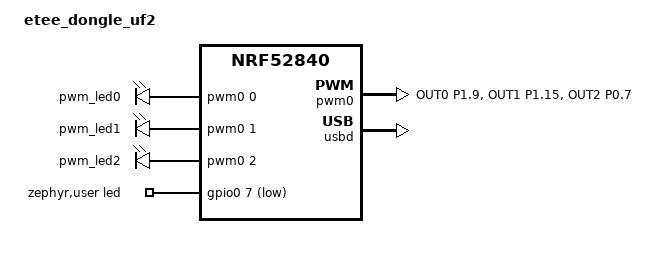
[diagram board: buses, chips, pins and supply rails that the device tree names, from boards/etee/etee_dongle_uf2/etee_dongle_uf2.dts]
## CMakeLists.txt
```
#
# Copyright (c) 2018 Nordic Semiconductor
#
# SPDX-License-Identifier: LicenseRef-Nordic-5-Clause
#
cmake_minimum_required(VERSION 3.20.0)

find_package(Zephyr REQUIRED HINTS $ENV{ZEPHYR_BASE})
project(NONE)

FILE(GLOB_RECURSE app_sources src/*.c)
# NORDIC SDK APP START
target_sources(app PRIVATE ${app_sources})
# NORDIC SDK APP END

# Force recompile for updated build timestamp
add_custom_target(touch_util_h ALL
    COMMAND ${CMAKE_COMMAND} -E touch ${CMAKE_SOURCE_DIR}/src/build_defines.h
)
```

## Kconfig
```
#
# Copyright (c) 2020 Nordic Semiconductor
#
# SPDX-License-Identifier: LicenseRef-Nordic-5-Clause
#

choice
	prompt "Status LED color mapping"
    default LED_TRI_COLOR

config LED_RGB_COLOR
    bool "Use RGB color mapping"
    help
        Use RGB or RG color mapping for LED status if available.

config LED_TRI_COLOR
    bool "Use default color mapping"
    help
        Use the default color mapping for LED status.

endchoice

menu "Status LED default status color"
    depends on LED_RGB_COLOR

config LED_DEFAULT_COLOR_R
    int "Red value"
    range 0 10000
    default 4000
    depends on LED_RGB_COLOR
    help
        Red color for default status.
        Valid range is 0 to 10000.

config LED_DEFAULT_COLOR_G
    int "Green value"
    range 0 10000
    default 6000
    depends on LED_RGB_COLOR
    help
        Green color for default status.
        Valid range is 0 to 10000.

config LED_DEFAULT_COLOR_B
    int "Blue value"
    range 0 10000
    default 0
    depends on LED_RGB_COLOR
    help
        Blue color for default status.
        Valid range is 0 to 10000.

endmenu

config PACKET_LOG
    bool "Log received tracker orientations"
    default y
    help
        Logs each tracker's latest orientation (roll, pitch, yaw in degrees)
        and packet rate once per interval, e.g.
        "Tracker 2 (3CA1B2C4D5E6): orientation X 12.3 Y -4.5 Z 170.2 deg, 98 pkt/s".

config PACKET_LOG_INTERVAL_MS
    int "Orientation log interval (ms)"
    depends on PACKET_LOG
    range 100 60000
    default 1000

# "diag on" logs a block of lines every interval; the default 1 KB drops some of them.
config LOG_BUFFER_SIZE
    default 4096 if PACKET_LOG && !SOC_NRF52820

DT_CHOSEN_HUB_UART := slimenrf,hub-uart

menu "ESP32 hub"

config HUB_UART_MIRROR
    bool "Mirror tracker packets to the ESP32 hub over UART"
    depends on $(dt_chosen_enabled,$(DT_CHOSEN_HUB_UART))
    select SERIAL
    select UART_ASYNC_API
    select CRC
    help
        Sends every tracker packet passed to the HID path, plus a type 255
        address packet per stored tracker every 100 ms, as
        COBS(packet[16] + CRC16 little-endian) + 0x00 on the UART chosen as
        "slimenrf,hub-uart". CRC16 is crc16_itu_t(0xFFFF, packet, 16).
        USB HID keeps working unchanged.

config HUB_UART_MIRROR_QUEUE_LEN
    int "Mirror queue length (packets)"
    depends on HUB_UART_MIRROR
    default 64
    help
        The HID FIFO merges reports per tracker; the mirror sends every packet,
        so it is sized for bursts. 64 covers about 50 ms at full rate.

config HUB_UART_MIRROR_ADDR_PERIOD_MS
    int "Address packet period (ms)"
    depends on HUB_UART_MIRROR
    default 100

config PAIRING_BUTTON
    bool "Toggle pairing mode with the sw0 button"
    depends on $(dt_alias_enabled,sw0)
    select GPIO
    help
        A short press enters pairing mode, the next press leaves it, the same
        as the "pair" and "exit" console commands.

endmenu

source "Kconfig.zephyr"
```

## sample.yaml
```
tests:
  common:
    platform_allow:
      - nrf52840dk/nrf52840
      - nrf52840dongle/nrf52840
      - xiao_ble/nrf52840
    sysbuild: true
```

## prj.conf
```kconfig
#CONFIG_NCS_SAMPLES_DEFAULTS
CONFIG_ASSERT=y
CONFIG_ASSERT_NO_COND_INFO=y
CONFIG_ASSERT_NO_MSG_INFO=y
CONFIG_RESET_ON_FATAL_ERROR=y

CONFIG_NCS_APPLICATION_BOOT_BANNER_STRING="SlimeVR-Tracker-nRF-Receiver"
#CONFIG_NCS_BOOT_BANNER=n
CONFIG_BOOT_BANNER=n

CONFIG_ESB=y
CONFIG_NEWLIB_LIBC=y
CONFIG_CBPRINTF_FP_SUPPORT=y

CONFIG_USB_DEVICE_STACK=y
CONFIG_USB_DEVICE_HID=y
CONFIG_USB_DEVICE_VID=0x1209
CONFIG_USB_DEVICE_PID=0x7690
CONFIG_USB_HID_BOOT_PROTOCOL=y
CONFIG_USB_DEVICE_INITIALIZE_AT_BOOT=n
CONFIG_USB_CDC_ACM=y
CONFIG_UART_INTERRUPT_DRIVEN=y
#CONFIG_USB_WORKQUEUE_STACK_SIZE=512

CONFIG_SERIAL=y
CONFIG_CONSOLE=y
CONFIG_UART_CONSOLE=y
CONFIG_UART_LINE_CTRL=y

CONFIG_LOG=y
#CONFIG_PRINTK=y
CONFIG_USB_DRIVER_LOG_LEVEL_WRN=y
CONFIG_USB_DEVICE_LOG_LEVEL_WRN=y
CONFIG_USB_CDC_ACM_LOG_LEVEL_OFF=y
CONFIG_LOG_BUFFER_SIZE=16384
CONFIG_LOG_PROCESS_THREAD_SLEEP_MS=100
CONFIG_LOG_PROCESS_THREAD_STACK_SIZE=1024

CONFIG_LOG_BACKEND_UART=y
CONFIG_LOG_MODE_DEFERRED=y

CONFIG_CONSOLE_SUBSYS=y
CONFIG_CONSOLE_GETLINE=y

CONFIG_NVS_LOG_LEVEL_WRN=y
CONFIG_USB_HID_LOG_LEVEL_WRN=y

CONFIG_USB_DEVICE_SOF=y
CONFIG_USB_HID_REPORTS=256

#CONFIG_USB_HID_POLL_INTERVAL_MS=1
CONFIG_USB_HID_POLL_INTERVAL_MS=0
CONFIG_HID_INTERRUPT_EP_MPS=64
#CONFIG_ENABLE_HID_INT_OUT_EP=y

CONFIG_GPIO=y
CONFIG_PWM=y

CONFIG_NVS=y

CONFIG_FLASH=y
CONFIG_FLASH_PAGE_LAYOUT=y
CONFIG_FLASH_MAP=y

CONFIG_SETTINGS=y
CONFIG_SETTINGS_NVS=y
CONFIG_SETTINGS_RUNTIME=y

CONFIG_MPU_ALLOW_FLASH_WRITE=y

CONFIG_NVS_LOOKUP_CACHE=y

CONFIG_ESB_TX_FIFO_SIZE=1
CONFIG_NRFX_TIMER1=y

#speed up boot? (use internal rc oscillator)
#CONFIG_CLOCK_CONTROL_NRF_K32SRC_RC=y
#speed up boot? (synthesize lf clock)
CONFIG_CLOCK_CONTROL_NRF_K32SRC_SYNTH=y

# dont need it
CONFIG_CRYPTO=n

CONFIG_THREAD_NAME=y
#CONFIG_SYSTEM_WORKQUEUE_STACK_SIZE=256
#CONFIG_MAIN_STACK_SIZE=512

#CONFIG_HEAP_MEM_POOL_SIZE=2048
CONFIG_ISR_STACK_SIZE=1024
```

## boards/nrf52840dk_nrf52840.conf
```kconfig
CONFIG_USB_DEVICE_MANUFACTURER="Nordic Semiconductor"
CONFIG_USB_DEVICE_PRODUCT="SlimeNRF Receiver nRF52840 DK"
```

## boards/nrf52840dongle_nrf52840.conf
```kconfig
CONFIG_USB_DEVICE_MANUFACTURER="Nordic Semiconductor"
CONFIG_USB_DEVICE_PRODUCT="SlimeNRF Receiver nRF52840 Dongle"

CONFIG_LED_RGB_COLOR=y
```

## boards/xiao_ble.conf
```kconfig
CONFIG_USB_DEVICE_MANUFACTURER="Seeed Studio"
CONFIG_USB_DEVICE_PRODUCT="SlimeNRF Receiver XIAO"

CONFIG_LED_RGB_COLOR=y

# The board enables the device_next CDC ACM stack for its console; the receiver uses the
# legacy USB stack (HID + CDC ACM), and both stacks defining the console fails to link.
CONFIG_BOARD_SERIAL_BACKEND_CDC_ACM=n
```

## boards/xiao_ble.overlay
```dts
&pwm0_default {
	group1 {
		psels = <NRF_PSEL(PWM_OUT0, 0, 26)>,
			<NRF_PSEL(PWM_OUT1, 0, 30)>,
			<NRF_PSEL(PWM_OUT2, 0, 6)>;
	};
};

&pwm0_sleep {
	group1 {
		psels = <NRF_PSEL(PWM_OUT0, 0, 26)>,
			<NRF_PSEL(PWM_OUT1, 0, 30)>,
			<NRF_PSEL(PWM_OUT2, 0, 6)>;
	};
};

/ {
	pwmleds {
		pwm_led0: pwm_led_0 {
			pwms = <&pwm0 0 PWM_MSEC(1) PWM_POLARITY_INVERTED>;
		};
		pwm_led1: pwm_led_1 {
			pwms = <&pwm0 1 PWM_MSEC(1) PWM_POLARITY_INVERTED>;
		};
		pwm_led2: pwm_led_2 {
			pwms = <&pwm0 2 PWM_MSEC(1) PWM_POLARITY_INVERTED>;
		};
	};

	aliases {
		pwm-led1 = &pwm_led1;
		pwm-led2 = &pwm_led2;
	};

	zephyr,user {
		led-gpios = <&gpio0 17 (GPIO_OPEN_DRAIN|GPIO_ACTIVE_LOW)>;
	};

};

&cryptocell {
	status = "disabled";
};

&nfct {
	status = "disabled";
};
```

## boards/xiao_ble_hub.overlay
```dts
// Seeed XIAO nRF52840 (also the Sense) as the receiver for the ESP32 hub: the tracker
// packets go out of D6 (P1.11) as the UART mirror, 1 Mbaud TX only. Wire XIAO D6 to the hub's
// D7 plus GND. Added on top of boards/xiao_ble.overlay by "make receiver-xiao".
// SPDX-License-Identifier: Apache-2.0

&pinctrl {
	uart0_default: uart0_default {
		group1 {
			psels = <NRF_PSEL(UART_TX, 1, 11)>;
		};
	};

	uart0_sleep: uart0_sleep {
		group1 {
			psels = <NRF_PSEL(UART_TX, 1, 11)>;
			low-power-enable;
		};
	};
};

/ {
	chosen {
		slimenrf,hub-uart = &uart0;
	};
};

&uart0 {
	status = "okay";
	current-speed = <1000000>;
	/delete-property/ rx-pin;
};
```

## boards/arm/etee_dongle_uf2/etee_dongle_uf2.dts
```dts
// Copyright (c) 2024 Nordic Semiconductor ASA
// SPDX-License-Identifier: Apache-2.0

/dts-v1/;
#include <nordic/nrf52840_qiaa.dtsi>

//move to dtsi?
&pinctrl {
	pwm0_default: pwm0_default {
		group1 {
			psels = <NRF_PSEL(PWM_OUT0, 0, 7)>;
		};
	};

	pwm0_sleep: pwm0_sleep {
		group1 {
			psels = <NRF_PSEL(PWM_OUT0, 0, 7)>;
			low-power-enable;
		};
	};
};
//end

/ {
	model = "etee_dongle_uf2";
	compatible = "etee_dongle_uf2";

	chosen {
		zephyr,sram = &sram0;
		zephyr,flash = &flash0;
		zephyr,code-partition = &slot0_partition;
		zephyr,console = &cdc_acm_uart0;
		zephyr,shell-uart = &cdc_acm_uart0;
	};

	pwmleds {
		compatible = "pwm-leds";
		pwm_led0: pwm_led_0 {
			pwms = <&pwm0 0 PWM_MSEC(1) PWM_POLARITY_NORMAL>;
		};
	};

	zephyr,user {
		led-gpios = <&gpio0 7 (GPIO_ACTIVE_LOW | GPIO_OPEN_DRAIN)>;
		// red 0.07, green 1.15, blue 1.09
		// TODO: but 0.07 is blue..
	};
};

&flash0 {
	partitions {
		compatible = "fixed-partitions";
		#address-cells = <1>;
		#size-cells = <1>;

		boot_partition: partition@0 {
			label = "mcuboot";
			reg = <0x0 0xc000>;
		};
		slot0_partition: partition@c000 {
			label = "image-0";
			reg = <0xc000 0x72000>;
		};
		slot1_partition: partition@7e000 {
			label = "image-1";
			reg = <0x7e000 0x72000>;
		};
		scratch_partition: partition@f0000 {
			label = "image-scratch";
			reg = <0xf0000 0xa000>;
		};
		storage_partition: partition@fa000 {
			label = "storage";
			reg = <0xfa000 0x6000>;
		};
	};
};

&gpio0 {
	status = "okay";
};

&gpio1 {
	status = "okay";
};

&gpiote {
	status = "okay";
};

&pwm0 {
	status = "okay";
	pinctrl-0 = <&pwm0_default>;
	pinctrl-1 = <&pwm0_sleep>;
	pinctrl-names = "default", "sleep";
};

zephyr_udc0: &usbd {
	compatible = "nordic,nrf-usbd";
	status = "okay";
	cdc_acm_uart0: cdc_acm_uart0 {
		compatible = "zephyr,cdc-acm-uart";
	};
};

&cryptocell {
	status = "disabled";
};

&nfct {
	status = "disabled";
};
```

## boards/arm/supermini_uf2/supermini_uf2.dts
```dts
// Copyright (c) 2024 Nordic Semiconductor ASA
// SPDX-License-Identifier: Apache-2.0

/dts-v1/;
#include <nordic/nrf52840_qiaa.dtsi>

//move to dtsi?
&pinctrl {
	pwm0_default: pwm0_default {
		group1 {
			psels = <NRF_PSEL(PWM_OUT0, 0, 15)>;
		};
	};

	pwm0_sleep: pwm0_sleep {
		group1 {
			psels = <NRF_PSEL(PWM_OUT0, 0, 15)>;
			low-power-enable;
		};
	};
};
//end

/ {
	model = "supermini_uf2";
	compatible = "supermini_uf2";

	chosen {
		zephyr,sram = &sram0;
		zephyr,flash = &flash0;
		zephyr,code-partition = &slot0_partition;
		zephyr,console = &cdc_acm_uart0;
		zephyr,shell-uart = &cdc_acm_uart0;
	};

	pwmleds {
		compatible = "pwm-leds";
		pwm_led0: pwm_led_0 {
			pwms = <&pwm0 0 PWM_MSEC(1) PWM_POLARITY_NORMAL>;
		};
	};

	// Uncomment below to Enable SW0
	// buttons {
	// 	compatible = "gpio-keys";
	// 	button0: button_0 {
	// 		gpios = <&gpio0 20 (GPIO_PULL_UP | GPIO_ACTIVE_LOW)>;
	// 		label = "Push button switch 0";
	// 	};
	// };

	// aliases {
	// 	sw0 = &button0;
	// };

	zephyr,user {
		led-gpios = <&gpio0 15 GPIO_OPEN_SOURCE>;
	};
};

&flash0 {
	partitions {
		compatible = "fixed-partitions";
		#address-cells = <1>;
		#size-cells = <1>;

		boot_partition: partition@0 {
			label = "mcuboot";
			reg = <0x0 0xc000>;
		};
		slot0_partition: partition@c000 {
			label = "image-0";
			reg = <0xc000 0x72000>;
		};
		slot1_partition: partition@7e000 {
			label = "image-1";
			reg = <0x7e000 0x72000>;
		};
		scratch_partition: partition@f0000 {
			label = "image-scratch";
			reg = <0xf0000 0xa000>;
		};
		storage_partition: partition@fa000 {
			label = "storage";
			reg = <0xfa000 0x6000>;
		};
	};
};

&gpio0 {
	status = "okay";
};

&gpiote {
	status = "okay";
};

&pwm0 {
	status = "okay";
	pinctrl-0 = <&pwm0_default>;
	pinctrl-1 = <&pwm0_sleep>;
	pinctrl-names = "default", "sleep";
};

zephyr_udc0: &usbd {
	compatible = "nordic,nrf-usbd";
	status = "okay";
	cdc_acm_uart0: cdc_acm_uart0 {
		compatible = "zephyr,cdc-acm-uart";
	};
};

&cryptocell {
	status = "disabled";
};

&nfct {
	status = "disabled";
};
```

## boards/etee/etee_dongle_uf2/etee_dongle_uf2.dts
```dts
// Copyright (c) 2024 Nordic Semiconductor ASA
// SPDX-License-Identifier: Apache-2.0

/dts-v1/;
#include <nordic/nrf52840_qiaa.dtsi>

//move to dtsi?
&pinctrl {
	pwm0_default: pwm0_default {
		group1 {
			psels = <NRF_PSEL(PWM_OUT0, 1, 9)>,
				<NRF_PSEL(PWM_OUT1, 1, 15)>,
				<NRF_PSEL(PWM_OUT2, 0, 7)>;
			nordic,invert;
		};
	};

	pwm0_sleep: pwm0_sleep {
		group1 {
			psels = <NRF_PSEL(PWM_OUT0, 1, 9)>,
				<NRF_PSEL(PWM_OUT1, 1, 15)>,
				<NRF_PSEL(PWM_OUT2, 0, 7)>;
			low-power-enable;
		};
	};
};
//end

/ {
	model = "etee_dongle_uf2";
	compatible = "etee_dongle_uf2";

	chosen {
		zephyr,sram = &sram0;
		zephyr,flash = &flash0;
		zephyr,code-partition = &slot0_partition;
		zephyr,console = &cdc_acm_uart0;
		zephyr,shell-uart = &cdc_acm_uart0;
	};

	pwmleds {
		compatible = "pwm-leds";
		pwm_led0: pwm_led_0 {
			pwms = <&pwm0 0 PWM_MSEC(1) PWM_POLARITY_INVERTED>;
		};
		pwm_led1: pwm_led_1 {
			pwms = <&pwm0 1 PWM_MSEC(1) PWM_POLARITY_INVERTED>;
		};
		pwm_led2: pwm_led_2 {
			pwms = <&pwm0 2 PWM_MSEC(1) PWM_POLARITY_INVERTED>;
		};
	};

	aliases {
		pwm-led0 = &pwm_led0;
		pwm-led1 = &pwm_led1;
		pwm-led2 = &pwm_led2;
	};

	zephyr,user {
		led-gpios = <&gpio0 7 (GPIO_ACTIVE_LOW | GPIO_OPEN_DRAIN)>;
		// red 1.09, green 1.15, blue 0.07
	};
};

&flash0 {
	partitions {
		compatible = "fixed-partitions";
		#address-cells = <1>;
		#size-cells = <1>;

		boot_partition: partition@0 {
			label = "mcuboot";
			reg = <0x0 0xc000>;
		};
		slot0_partition: partition@c000 {
			label = "image-0";
			reg = <0xc000 0x72000>;
		};
		slot1_partition: partition@7e000 {
			label = "image-1";
			reg = <0x7e000 0x72000>;
		};
		scratch_partition: partition@f0000 {
			label = "image-scratch";
			reg = <0xf0000 0xa000>;
		};
		storage_partition: partition@fa000 {
			label = "storage";
			reg = <0xfa000 0x6000>;
		};
	};
};

&reg1 {
	regulator-initial-mode = <NRF5X_REG_MODE_DCDC>;
};

&gpio0 {
	status = "okay";
};

&gpiote {
	status = "okay";
};

&pwm0 {
	status = "okay";
	pinctrl-0 = <&pwm0_default>;
	pinctrl-1 = <&pwm0_sleep>;
	pinctrl-names = "default", "sleep";
};

zephyr_udc0: &usbd {
	compatible = "nordic,nrf-usbd";
	status = "okay";
	cdc_acm_uart0: cdc_acm_uart0 {
		compatible = "zephyr,cdc-acm-uart";
	};
};

&cryptocell {
	status = "disabled";
};

&nfct {
	status = "disabled";
};
```

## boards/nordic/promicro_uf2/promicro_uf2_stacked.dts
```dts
// Stacked ProMicro (tracker build) used as a receiver for the ESP32 hub.
// SPDX-License-Identifier: Apache-2.0

/dts-v1/;
#include "promicro_uf2.dts"
#include <zephyr/dt-bindings/input/input-event-codes.h>

&pinctrl {
	uart0_default: uart0_default {
		group1 {
			psels = <NRF_PSEL(UART_TX, 0, 8)>;
		};
	};

	uart0_sleep: uart0_sleep {
		group1 {
			psels = <NRF_PSEL(UART_TX, 0, 8)>;
			low-power-enable;
		};
	};
};

/ {
	model = "promicro_uf2_stacked";

	chosen {
		slimenrf,hub-uart = &uart0;
	};

	buttons {
		compatible = "gpio-keys";
		button0: button_0 {
			gpios = <&gpio0 6 (GPIO_PULL_UP | GPIO_ACTIVE_LOW)>;
			label = "Pairing button";
			zephyr,code = <INPUT_KEY_0>;
		};
	};

	aliases {
		sw0 = &button0;
	};
};

// TX only, on P0.08 (D0) to the hub's RX pin. P0.08 is a full-speed pin; P0.29 and the
// other "low frequency I/O only" pins are avoided because a UART there while the radio
// is active can increase packet loss (nRF52840 PS, pin assignments).
// The stacked build's IMU, SPI and power pins (P0.02, P0.11, P0.17, P0.20, P0.22, P0.24,
// P1.00, P1.11) are left untouched.
&uart0 {
	compatible = "nordic,nrf-uarte";
	status = "okay";
	current-speed = <1000000>;
	pinctrl-0 = <&uart0_default>;
	pinctrl-1 = <&uart0_sleep>;
	pinctrl-names = "default", "sleep";
};
```

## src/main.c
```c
/*
	SlimeVR Code is placed under the MIT license
	Copyright (c) 2025 SlimeVR Contributors

	Permission is hereby granted, free of charge, to any person obtaining a copy
	of this software and associated documentation files (the "Software"), to deal
	in the Software without restriction, including without limitation the rights
	to use, copy, modify, merge, publish, distribute, sublicense, and/or sell
	copies of the Software, and to permit persons to whom the Software is
	furnished to do so, subject to the following conditions:

	The above copyright notice and this permission notice shall be included in
	all copies or substantial portions of the Software.

	THE SOFTWARE IS PROVIDED "AS IS", WITHOUT WARRANTY OF ANY KIND, EXPRESS OR
	IMPLIED, INCLUDING BUT NOT LIMITED TO THE WARRANTIES OF MERCHANTABILITY,
	FITNESS FOR A PARTICULAR PURPOSE AND NONINFRINGEMENT. IN NO EVENT SHALL THE
	AUTHORS OR COPYRIGHT HOLDERS BE LIABLE FOR ANY CLAIM, DAMAGES OR OTHER
	LIABILITY, WHETHER IN AN ACTION OF CONTRACT, TORT OR OTHERWISE, ARISING FROM,
	OUT OF OR IN CONNECTION WITH THE SOFTWARE OR THE USE OR OTHER DEALINGS IN
	THE SOFTWARE.
*/
#include "globals.h"
#include "system/system.h"
//#include "timer.h"
#include "connection/esb.h"

#include <zephyr/kernel.h>
#include <zephyr/drivers/gpio.h>
#include <zephyr/sys/reboot.h>

LOG_MODULE_REGISTER(main, LOG_LEVEL_INF);

#define DFU_EXISTS CONFIG_BUILD_OUTPUT_UF2

int main(void)
{
	set_led(SYS_LED_PATTERN_ACTIVE_PERSIST, SYS_LED_PRIORITY_SYSTEM);

	uint8_t reboot_counter = reboot_counter_read();

	uint8_t reset_mode = reboot_counter - 100;
	if (reboot_counter != 100)
		reboot_counter_write(100);

	clocks_start();

	switch (reset_mode)
	{
	case 1:
		LOG_INF("Pairing requested");
		sys_read(STORED_TRACKERS, &stored_trackers, sizeof(stored_trackers));
		for (int i = 0; i < stored_trackers; i++)
			sys_read(STORED_ADDR_0+i, &stored_tracker_addr[i], sizeof(stored_tracker_addr[0]));
		esb_pair(); // this will not return
		break;
	case 2:
		sys_write(STORED_TRACKERS, NULL, &stored_trackers, sizeof(stored_trackers));
		LOG_INF("NVS Reset");
		LOG_INF("Pairing requested");
		esb_pair(); // this will not return
		break;
#if DFU_EXISTS // Using Adafruit bootloader
	case 3: // DFU_MAGIC_UF2_RESET, Reset mode DFU
		LOG_INF("DFU requested");
		NRF_POWER->GPREGRET = 0x57;
		sys_reboot(SYS_REBOOT_COLD);
#endif
	default:
		sys_read(STORED_TRACKERS, &stored_trackers, sizeof(stored_trackers));
		if (stored_trackers == 0)
			esb_pair(); // this will not return // TODO:
		for (int i = 0; i < stored_trackers; i++)
			sys_read(STORED_ADDR_0+i, &stored_tracker_addr[i], sizeof(stored_tracker_addr[0]));
		LOG_INF("%d/%d devices stored", stored_trackers, MAX_TRACKERS);
		break;
	}

//	k_msleep(1); // TODO: fixes some weird issue with the device bootlooping, what is the cause

	esb_receive();

	esb_initialize(false);

	esb_start_rx();

	//timer_init();

	return 0;
}
```

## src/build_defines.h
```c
#include "app_version.h"

#define FW_NAME CONFIG_NCS_APPLICATION_BOOT_BANNER_STRING
#define FW_VERSION_MAJOR APP_VERSION_MAJOR
#define FW_VERSION_MINOR APP_VERSION_MINOR
#define FW_VERSION_PATCH APP_PATCHLEVEL

// https://stackoverflow.com/questions/11697820/how-to-use-date-and-time-predefined-macros-in-as-two-integers-then-stri
#define COMPUTE_BUILD_YEAR \
	( \
		(__DATE__[ 7] - '0') * 1000 + \
		(__DATE__[ 8] - '0') *  100 + \
		(__DATE__[ 9] - '0') *   10 + \
		(__DATE__[10] - '0') \
	)

#define COMPUTE_BUILD_DAY \
	( \
		((__DATE__[4] >= '0') ? (__DATE__[4] - '0') * 10 : 0) + \
		(__DATE__[5] - '0') \
	)

#define BUILD_MONTH_IS_JAN (__DATE__[0] == 'J' && __DATE__[1] == 'a' && __DATE__[2] == 'n')
#define BUILD_MONTH_IS_FEB (__DATE__[0] == 'F')
#define BUILD_MONTH_IS_MAR (__DATE__[0] == 'M' && __DATE__[1] == 'a' && __DATE__[2] == 'r')
#define BUILD_MONTH_IS_APR (__DATE__[0] == 'A' && __DATE__[1] == 'p')
#define BUILD_MONTH_IS_MAY (__DATE__[0] == 'M' && __DATE__[1] == 'a' && __DATE__[2] == 'y')
#define BUILD_MONTH_IS_JUN (__DATE__[0] == 'J' && __DATE__[1] == 'u' && __DATE__[2] == 'n')
#define BUILD_MONTH_IS_JUL (__DATE__[0] == 'J' && __DATE__[1] == 'u' && __DATE__[2] == 'l')
#define BUILD_MONTH_IS_AUG (__DATE__[0] == 'A' && __DATE__[1] == 'u')
#define BUILD_MONTH_IS_SEP (__DATE__[0] == 'S')
#define BUILD_MONTH_IS_OCT (__DATE__[0] == 'O')
#define BUILD_MONTH_IS_NOV (__DATE__[0] == 'N')
#define BUILD_MONTH_IS_DEC (__DATE__[0] == 'D')

#define COMPUTE_BUILD_MONTH \
	( \
		(BUILD_MONTH_IS_JAN) ?  1 : \
		(BUILD_MONTH_IS_FEB) ?  2 : \
		(BUILD_MONTH_IS_MAR) ?  3 : \
		(BUILD_MONTH_IS_APR) ?  4 : \
		(BUILD_MONTH_IS_MAY) ?  5 : \
		(BUILD_MONTH_IS_JUN) ?  6 : \
		(BUILD_MONTH_IS_JUL) ?  7 : \
		(BUILD_MONTH_IS_AUG) ?  8 : \
		(BUILD_MONTH_IS_SEP) ?  9 : \
		(BUILD_MONTH_IS_OCT) ? 10 : \
		(BUILD_MONTH_IS_NOV) ? 11 : \
		(BUILD_MONTH_IS_DEC) ? 12 : \
		/* error default */  99 \
	)

#define COMPUTE_BUILD_HOUR ((__TIME__[0] - '0') * 10 + __TIME__[1] - '0')
#define COMPUTE_BUILD_MIN  ((__TIME__[3] - '0') * 10 + __TIME__[4] - '0')
#define COMPUTE_BUILD_SEC  ((__TIME__[6] - '0') * 10 + __TIME__[7] - '0')

#define BUILD_DATE_IS_BAD (__DATE__[0] == '?')

#define BUILD_YEAR  ((BUILD_DATE_IS_BAD) ? 99 : COMPUTE_BUILD_YEAR)
#define BUILD_MONTH ((BUILD_DATE_IS_BAD) ? 99 : COMPUTE_BUILD_MONTH)
#define BUILD_DAY   ((BUILD_DATE_IS_BAD) ? 99 : COMPUTE_BUILD_DAY)

#define BUILD_TIME_IS_BAD (__TIME__[0] == '?')

#define BUILD_HOUR  ((BUILD_TIME_IS_BAD) ? 99 :  COMPUTE_BUILD_HOUR)
#define BUILD_MIN   ((BUILD_TIME_IS_BAD) ? 99 :  COMPUTE_BUILD_MIN)
#define BUILD_SEC   ((BUILD_TIME_IS_BAD) ? 99 :  COMPUTE_BUILD_SEC)

#define TOSTRING(x) STRINGIFY(x)

#define FW_STRING FW_NAME " " APP_VERSION_EXTENDED_STRING " "\
	"(Commit " TOSTRING(APP_BUILD_VERSION) ", Build %d-%02d-%02d %02d:%02d:%02d)\n",\
	BUILD_YEAR, BUILD_MONTH, BUILD_DAY, BUILD_HOUR, BUILD_MIN, BUILD_SEC
```

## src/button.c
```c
/*
	SlimeVR Code is placed under the MIT license
	Copyright (c) 2026 SlimeVR Contributors

	Permission is hereby granted, free of charge, to any person obtaining a copy
	of this software and associated documentation files (the "Software"), to deal
	in the Software without restriction, including without limitation the rights
	to use, copy, modify, merge, publish, distribute, sublicense, and/or sell
	copies of the Software, and to permit persons to whom the Software is
	furnished to do so, subject to the following conditions:

	The above copyright notice and this permission notice shall be included in
	all copies or substantial portions of the Software.

	THE SOFTWARE IS PROVIDED "AS IS", WITHOUT WARRANTY OF ANY KIND, EXPRESS OR
	IMPLIED, INCLUDING BUT NOT LIMITED TO THE WARRANTIES OF MERCHANTABILITY,
	FITNESS FOR A PARTICULAR PURPOSE AND NONINFRINGEMENT. IN NO EVENT SHALL THE
	AUTHORS OR COPYRIGHT HOLDERS BE LIABLE FOR ANY CLAIM, DAMAGES OR OTHER
	LIABILITY, WHETHER IN AN ACTION OF CONTRACT, TORT OR OTHERWISE, ARISING FROM,
	OUT OF OR IN CONNECTION WITH THE SOFTWARE OR THE USE OR OTHER DEALINGS IN
	THE SOFTWARE.
*/
// Pairing button: a short press on sw0 enters pairing mode, the next press leaves it.
// Same effect as the "pair" and "exit" console commands, for a receiver with no USB host.
#include "globals.h"
#include "connection/esb.h"

#if CONFIG_PAIRING_BUTTON

#include <zephyr/drivers/gpio.h>
#include <zephyr/init.h>
#include <zephyr/kernel.h>

LOG_MODULE_REGISTER(button, LOG_LEVEL_INF);

#define DEBOUNCE_MS 30

static const struct gpio_dt_spec button = GPIO_DT_SPEC_GET(DT_ALIAS(sw0), gpios);
static struct gpio_callback button_cb;

static void press_work_fn(struct k_work *work)
{
	if (gpio_pin_get_dt(&button) != 1)
		return; // bounce or released within the debounce time
	if (esb_pairing_active()) {
		LOG_INF("Button: exit pairing");
		esb_finish_pair();
	} else {
		LOG_INF("Button: enter pairing");
		esb_reset_pair();
	}
}

static K_WORK_DELAYABLE_DEFINE(press_work, press_work_fn);

static void button_isr(const struct device *dev, struct gpio_callback *cb, uint32_t pins)
{
	k_work_reschedule(&press_work, K_MSEC(DEBOUNCE_MS));
}

static int button_init(void)
{
	if (!gpio_is_ready_dt(&button)) {
		LOG_ERR("Button GPIO not ready");
		return 0;
	}
	gpio_pin_configure_dt(&button, GPIO_INPUT);
	gpio_pin_interrupt_configure_dt(&button, GPIO_INT_EDGE_TO_ACTIVE);
	gpio_init_callback(&button_cb, button_isr, BIT(button.pin));
	gpio_add_callback(button.port, &button_cb);
	return 0;
}

SYS_INIT(button_init, APPLICATION, CONFIG_APPLICATION_INIT_PRIORITY);

#endif
```

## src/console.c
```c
/*
	SlimeVR Code is placed under the MIT license
	Copyright (c) 2025 SlimeVR Contributors

	Permission is hereby granted, free of charge, to any person obtaining a copy
	of this software and associated documentation files (the "Software"), to deal
	in the Software without restriction, including without limitation the rights
	to use, copy, modify, merge, publish, distribute, sublicense, and/or sell
	copies of the Software, and to permit persons to whom the Software is
	furnished to do so, subject to the following conditions:

	The above copyright notice and this permission notice shall be included in
	all copies or substantial portions of the Software.

	THE SOFTWARE IS PROVIDED "AS IS", WITHOUT WARRANTY OF ANY KIND, EXPRESS OR
	IMPLIED, INCLUDING BUT NOT LIMITED TO THE WARRANTIES OF MERCHANTABILITY,
	FITNESS FOR A PARTICULAR PURPOSE AND NONINFRINGEMENT. IN NO EVENT SHALL THE
	AUTHORS OR COPYRIGHT HOLDERS BE LIABLE FOR ANY CLAIM, DAMAGES OR OTHER
	LIABILITY, WHETHER IN AN ACTION OF CONTRACT, TORT OR OTHERWISE, ARISING FROM,
	OUT OF OR IN CONNECTION WITH THE SOFTWARE OR THE USE OR OTHER DEALINGS IN
	THE SOFTWARE.
*/
#include "globals.h"
#include "system/system.h"
#include "build_defines.h"
#include "parse_args.h"
#include "hid.h"
#include "mirror.h"
#include "packet_log.h"

#define USB DT_NODELABEL(usbd)
#if DT_NODE_HAS_STATUS(USB, okay)

#include <zephyr/drivers/gpio.h>
#include <zephyr/console/console.h>
#include <zephyr/sys/reboot.h>
#include <zephyr/logging/log_ctrl.h>
#include "connection/esb.h"

#include <ctype.h>

#define DFU_DBL_RESET_MEM 0x20007F7C
#define DFU_DBL_RESET_APP 0x4ee5677e

uint32_t* dbl_reset_mem = ((uint32_t*) DFU_DBL_RESET_MEM);

LOG_MODULE_REGISTER(console, LOG_LEVEL_INF);

static void console_thread(void);
K_THREAD_DEFINE(console_thread_id, 1024, console_thread, NULL, NULL, NULL, 6, 0, 0);

#define DFU_EXISTS CONFIG_BUILD_OUTPUT_UF2 || CONFIG_BOARD_HAS_NRF5_BOOTLOADER
#define ADAFRUIT_BOOTLOADER CONFIG_BUILD_OUTPUT_UF2
#define NRF5_BOOTLOADER CONFIG_BOARD_HAS_NRF5_BOOTLOADER

#if NRF5_BOOTLOADER
static const struct device *gpio_dev = DEVICE_DT_GET(DT_NODELABEL(gpio0));
#endif

static const char *meows[] = {
	"Mew",
	"Meww",
	"Meow",
	"Meow meow",
	"Mrrrp",
	"Mrrf",
	"Mreow",
	"Mrrrow",
	"Mrrr",
	"Purr",
	"mew",
	"meww",
	"meow",
	"meow meow",
	"mrrrp",
	"mrrf",
	"mreow",
	"mrrrow",
	"mrrr",
	"purr",
};

static const char *meow_punctuations[] = {
	".",
	"?",
	"!",
	"-",
	"~",
	""
};

static const char *meow_suffixes[] = {
	" :3",
	" :3c",
	" ;3",
	" ;3c",
	" x3",
	" x3c",
	" X3",
	" X3c",
	" >:3",
	" >:3c",
	" >;3",
	" >;3c",
	""
};

static void skip_dfu(void)
{
#if DFU_EXISTS // Using Adafruit bootloader
	(*dbl_reset_mem) = DFU_DBL_RESET_APP; // Skip DFU
	ram_range_retain(dbl_reset_mem, sizeof(dbl_reset_mem), true);
#endif
}

static void print_info(void)
{
	printk(CONFIG_USB_DEVICE_MANUFACTURER " " CONFIG_USB_DEVICE_PRODUCT "\n");
	printk(FW_STRING);

	printk("\nBoard: " CONFIG_BOARD "\n");
	printk("SOC: " CONFIG_SOC "\n");
	printk("Target: " CONFIG_BOARD_TARGET "\n");

	printk("\nDevice address: %012llX\n", *(uint64_t *)NRF_FICR->DEVICEADDR & 0xFFFFFFFFFFFF);
	printk("Radio address: %012llX\n", esb_radio_addr());
	printk("Radio bit rate: %s\n", esb_1mbps() ? "1 Mbps" : "2 Mbps");
}

static void print_uptime(void)
{
	int64_t uptime = k_ticks_to_us_floor64(k_uptime_ticks());

	uint32_t days = uptime / 86400000000;
	uptime %= 86400000000;
	uint8_t hours = uptime / 3600000000;
	uptime %= 3600000000;
	uint8_t minutes = uptime / 60000000;
	uptime %= 60000000;
	uint8_t seconds = uptime / 1000000;
	uptime %= 1000000;
	uint16_t milliseconds = uptime / 1000;
	uint16_t microseconds = uptime %= 1000;

	printk("Uptime: %u.%02u:%02u:%02u.%03u,%03u\n", days, hours, minutes, seconds, milliseconds, microseconds);
}

static void print_meow(void)
{
	int64_t ticks = k_uptime_ticks();

	ticks %= ARRAY_SIZE(meows) * ARRAY_SIZE(meow_punctuations) * ARRAY_SIZE(meow_suffixes); // silly number generator
	uint8_t meow = ticks / (ARRAY_SIZE(meow_punctuations) * ARRAY_SIZE(meow_suffixes));
	ticks %= (ARRAY_SIZE(meow_punctuations) * ARRAY_SIZE(meow_suffixes));
	uint8_t punctuation = ticks / ARRAY_SIZE(meow_suffixes);
	uint8_t suffix = ticks % ARRAY_SIZE(meow_suffixes);

	printk("%s%s%s\n", meows[meow], meow_punctuations[punctuation], meow_suffixes[suffix]);
}

static void print_list(void)
{
	printk("Stored devices:\n");
	for (uint8_t i = 0; i < stored_trackers; i++)
		printk("%012llX\n", stored_tracker_addr[i]);
}

static inline void strtolower(char *str) {
	for(int i = 0; str[i]; i++) {
		str[i] = tolower(str[i]);
	}
}

static void print_help(void)
{
	printk("\nhelp                         Display this help text\n");

	printk("\ninfo                         Get device information\n");
	printk("uptime                       Get device uptime\n");
	printk("list                         Get paired devices\n");
	printk("reboot                       Soft reset the device\n");
	printk("\nadd <address>                Manually add a device\n");
	printk("remove                       Remove last device\n");
	printk("pair                         Enter pairing mode\n");
	printk("exit                         Exit pairing mode\n");
	printk("clear                        Clear stored devices\n");
	printk("radio [1m|2m]                Radio bit rate, stored; reboots. Trackers must match (radio_1mbps)\n");
	printk("\nhid [on|off]                 Send tracker data to the PC over USB (on at boot)\n");
#if CONFIG_HUB_UART_MIRROR
	printk("mirror [on|off]              Send tracker data to the ESP32 hub over UART (on at boot)\n");
#endif
#if CONFIG_PACKET_LOG
	printk("diag [on|off]                Log radio link diagnostics every second (off at boot)\n");
	printk("diag hub [on|off]            Send them to the hub, for slime_diag.py on the PC (stored)\n");
#endif
#if DFU_EXISTS
	printk("\ndfu                          Enter DFU bootloader\n");
#endif
	printk("\nmeow                         Meow!\n");
}

static void console_thread(void)
{
	console_getline_init();
	while (log_data_pending())
		k_usleep(1);
	k_msleep(100);
	printk("*** " CONFIG_USB_DEVICE_MANUFACTURER " " CONFIG_USB_DEVICE_PRODUCT " ***\n");
	printk(FW_STRING);
	print_help();

	const char command_help[] = "help";

	const char command_info[] = "info";
	const char command_uptime[] = "uptime";
	const char command_list[] = "list";
	const char command_reboot[] = "reboot";
	const char command_add[] = "add";
	const char command_remove[] = "remove";
	const char command_pair[] = "pair";
	const char command_exit[] = "exit";
	const char command_clear[] = "clear";
#if DFU_EXISTS
	const char command_dfu[] = "dfu";
#endif
	const char command_meow[] = "meow";
	const char command_hid[] = "hid";
	const char command_mirror[] = "mirror";
	const char command_diag[] = "diag";
	const char command_radio[] = "radio";

	while (1) {
		char *line = console_getline();

		char* argv[5] = {NULL}; // command and 4 args
		size_t argc = parse_args(line, argv, ARRAY_SIZE(argv));
		if(argc == 0)
			continue;
		if(argc > 0)
			strtolower(argv[0]); // lower case the command
		if(argc > 1)
			strtolower(argv[1]); // lower case the first argument
		// only care that the first words are matchable

		if (strcmp(argv[0], command_help) == 0)
		{
			print_help();
		}
		else if (strcmp(argv[0], command_info) == 0)
		{
			print_info();
		}
		else if (strcmp(line, command_uptime) == 0)
		{
			print_uptime();
		}
		else if (strcmp(line, command_add) == 0)
		{
			if (argc != 2)
			{
				printk("Invalid number of arguments\n");
				continue;
			}
			uint64_t addr = parse_u64(argv[1], 16);
			uint8_t buf[13];
			snprintk(buf, 13, "%012llx", addr);
			if (addr != 0 && strcmp(buf, argv[1]) == 0)
				esb_add_pair(addr, true);
			else
				printk("Invalid address\n");
		}
		else if (strcmp(line, command_remove) == 0)
		{
			esb_pop_pair();
		}
		else if (strcmp(line, command_list) == 0)
		{
			print_list();
		}
		else if (strcmp(line, command_reboot) == 0)
		{
			skip_dfu();
			sys_reboot(SYS_REBOOT_COLD);
		}
		else if (strcmp(line, command_pair) == 0)
		{
			esb_reset_pair();
		}
		else if (strcmp(line, command_exit) == 0)
		{
			esb_finish_pair();
		}
		else if (strcmp(line, command_clear) == 0)
		{
			esb_clear();
		}
#if DFU_EXISTS
		else if (strcmp(line, command_dfu) == 0)
		{
#if ADAFRUIT_BOOTLOADER
			NRF_POWER->GPREGRET = 0x57;
			sys_reboot(SYS_REBOOT_COLD);
#endif
#if NRF5_BOOTLOADER
			gpio_pin_configure(gpio_dev, 19, GPIO_OUTPUT | GPIO_OUTPUT_INIT_LOW);
#endif
		}
#endif
		else if (strcmp(line, command_meow) == 0)
		{
			print_meow();
		}
		else if (strcmp(argv[0], command_hid) == 0)
		{
			if (argc > 1 && (strcmp(argv[1], "on") == 0 || strcmp(argv[1], "off") == 0))
				hid_set_reports_enabled(strcmp(argv[1], "on") == 0);
			else if (argc > 1)
				printk("Usage: hid [on|off]\n");
			printk("USB HID tracker data %s\n", hid_reports_enabled() ? "on" : "off");
		}
		else if (strcmp(argv[0], command_mirror) == 0)
		{
			if (!IS_ENABLED(CONFIG_HUB_UART_MIRROR))
				printk("This build has no hub UART mirror\n");
			else
			{
				if (argc > 1 && (strcmp(argv[1], "on") == 0 || strcmp(argv[1], "off") == 0))
					mirror_set_enabled(strcmp(argv[1], "on") == 0);
				else if (argc > 1)
					printk("Usage: mirror [on|off]\n");
				printk("Hub UART mirror %s\n", mirror_enabled() ? "on" : "paused");
			}
		}
		else if (strcmp(argv[0], command_radio) == 0)
		{
			if (argc > 1 && (strcmp(argv[1], "1m") == 0 || strcmp(argv[1], "2m") == 0))
			{
				bool on = strcmp(argv[1], "1m") == 0;
				if (on == esb_1mbps())
					printk("Radio bit rate already %s\n", on ? "1 Mbps" : "2 Mbps");
				else
				{
					esb_set_1mbps(on);
					printk("Radio bit rate set to %s, rebooting\n", on ? "1 Mbps" : "2 Mbps");
					k_msleep(100);
					skip_dfu();
					sys_reboot(SYS_REBOOT_COLD);
				}
			}
			else
			{
				if (argc > 1)
					printk("Usage: radio [1m|2m]\n");
				printk("Radio bit rate: %s\n", esb_1mbps() ? "1 Mbps" : "2 Mbps");
			}
		}
		else if (strcmp(argv[0], command_diag) == 0)
		{
			if (!IS_ENABLED(CONFIG_PACKET_LOG))
				printk("This build has no packet log\n");
			else if (argc > 1 && strcmp(argv[1], "hub") == 0)
			{
				if (argc > 2)
					strtolower(argv[2]);
				if (argc > 2 && (strcmp(argv[2], "on") == 0 || strcmp(argv[2], "off") == 0))
					packet_log_set_diag_hub(strcmp(argv[2], "on") == 0);
				else if (argc > 2)
					printk("Usage: diag hub [on|off]\n");
				printk("Link diagnostics to the hub (UDP 6971 on the server's PC) %s, stored\n",
				       packet_log_diag_hub() ? "on" : "off");
			}
			else
			{
				if (argc > 1 && (strcmp(argv[1], "on") == 0 || strcmp(argv[1], "off") == 0))
					packet_log_set_diag(strcmp(argv[1], "on") == 0);
				else if (argc > 1)
					printk("Usage: diag [on|off]\n");
				printk("Link diagnostics %s\n", packet_log_diag() ? "on" : "off");
				if (packet_log_diag())
					printk("Every second:\n"
					       "  diag noise: background RSSI while listening; the median is the noise floor (clean: about -95)\n"
					       "  diag radio: frames the radio received with a good / bad CRC, all trackers\n"
					       "  diag id N: rx frames, lost = sequence numbers that never arrived,\n"
					       "    dup = repeats (tracker missed the ACK), late = older after newer,\n"
					       "    max gap = longest silence, RSSI average (worst),\n"
					       "    |...| = 50 ms slots: # frames, x frames after lost ones, . nothing\n"
					       "  diag gap / outage: a silence that lost frames, or over 1 s\n");
			}
		}
		else
		{
			printk("Unknown command\n");
		}
	}
}

#endif
```

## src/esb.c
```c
#include "globals.h"
#include "system.h"
#include "hid.h"

#include <zephyr/drivers/clock_control/nrf_clock_control.h>
#include <zephyr/sys/crc.h>

#include "esb.h"

static struct esb_payload rx_payload;
//static struct esb_payload tx_payload = ESB_CREATE_PAYLOAD(0,
//														  0, 0, 0, 0, 0, 0, 0, 0);
static struct esb_payload tx_payload_pair = ESB_CREATE_PAYLOAD(0,
														  0, 0, 0, 0, 0, 0, 0, 0);
//static struct esb_payload tx_payload_timer = ESB_CREATE_PAYLOAD(0,
//														  0, 0, 0, 0, 0, 0, 0, 0, 0, 0, 0, 0, 0, 0, 0, 0, 0);
static struct esb_payload tx_payload_sync = ESB_CREATE_PAYLOAD(0,
														  0, 0, 0, 0);

uint8_t pairing_buf[8] = {0};
static uint8_t discovered_trackers[256] = {0};

LOG_MODULE_REGISTER(esb_event, LOG_LEVEL_INF);

static void esb_packet_filter_thread(void);
K_THREAD_DEFINE(esb_packet_filter_thread_id, 256, esb_packet_filter_thread, NULL, NULL, NULL, 6, 0, 0);

void event_handler(struct esb_evt const *event)
{
	switch (event->evt_id)
	{
	case ESB_EVENT_TX_SUCCESS:
		LOG_DBG("TX SUCCESS");
		break;
	case ESB_EVENT_TX_FAILED:
		LOG_DBG("TX FAILED");
		break;
	case ESB_EVENT_RX_RECEIVED:
	// make tx payload for ack here
		if (!esb_read_rx_payload(&rx_payload)) // zero, rx success
		{
			switch (rx_payload.length)
			{
			case 8:
				LOG_INF("RX Pairing Packet");
				memcpy(pairing_buf, rx_payload.data, 8);
				esb_write_payload(&tx_payload_pair); // Add to TX buffer
				break;
			case 16:
				uint8_t imu_id = rx_payload.data[1];
				if (discovered_trackers[imu_id] < DETECTION_THRESHOLD) // garbage filtering of nonexistent tracker
				{
					discovered_trackers[imu_id]++;
					return;
				}
				if (rx_payload.data[0] > 223) // reserved for receiver only
					break;
				hid_write_packet_n(rx_payload.data, rx_payload.rssi); // write to hid endpoint
				break;
			default:
				break;
			}
		}
		else
		{
			LOG_ERR("Error while reading rx packet");
		}
		break;
	}
}

int clocks_start(void)
{
	int err;
	int res;
	struct onoff_manager *clk_mgr;
	struct onoff_client clk_cli;
	int fetch_attempts = 0;

	clk_mgr = z_nrf_clock_control_get_onoff(CLOCK_CONTROL_NRF_SUBSYS_HF);
	if (!clk_mgr)
	{
		LOG_ERR("Unable to get the Clock manager");
		return -ENXIO;
	}

	sys_notify_init_spinwait(&clk_cli.notify);

	err = onoff_request(clk_mgr, &clk_cli);
	if (err < 0)
	{
		LOG_ERR("Clock request failed: %d", err);
		return err;
	}

	do
	{
		err = sys_notify_fetch_result(&clk_cli.notify, &res);
		if (!err && res)
		{
			LOG_ERR("Clock could not be started: %d", res);
			return res;
		}
		if (err && ++fetch_attempts > 10000) {
			LOG_WRN("Unable to fetch Clock request result: %d", err);
			return err;
		}
	} while (err);

	LOG_DBG("HF clock started");
	return 0;
}

// this was randomly generated
// TODO: I have no idea?
static const uint8_t discovery_base_addr_0[4] = {0x62, 0x39, 0x8A, 0xF2};
static const uint8_t discovery_base_addr_1[4] = {0x28, 0xFF, 0x50, 0xB8};
static const uint8_t discovery_addr_prefix[8] = {0xFE, 0xFF, 0x29, 0x27, 0x09, 0x02, 0xB2, 0xD6};

static uint8_t base_addr_0[4], base_addr_1[4], addr_prefix[8] = {0};

static bool esb_initialized = false;

int esb_initialize(bool tx)
{
	int err;

	struct esb_config config = ESB_DEFAULT_CONFIG;

	if (tx)
	{
		// config.protocol = ESB_PROTOCOL_ESB_DPL;
		// config.mode = ESB_MODE_PTX;
		config.event_handler = event_handler;
		// config.bitrate = ESB_BITRATE_2MBPS;
		// config.crc = ESB_CRC_16BIT;
		config.tx_output_power = 8;
		// config.retransmit_delay = 600;
		config.retransmit_count = 0;
		config.tx_mode = ESB_TXMODE_MANUAL;
		// config.payload_length = 32;
		config.selective_auto_ack = true;
	}
	else
	{
		// config.protocol = ESB_PROTOCOL_ESB_DPL;
		config.mode = ESB_MODE_PRX;
		config.event_handler = event_handler;
		// config.bitrate = ESB_BITRATE_2MBPS;
		// config.crc = ESB_CRC_16BIT;
		config.tx_output_power = 8;
		// config.retransmit_delay = 600;
		// config.retransmit_count = 3;
		// config.tx_mode = ESB_TXMODE_AUTO;
		// config.payload_length = 32;
		config.selective_auto_ack = true;
	}

	// Fast startup mode
	NRF_RADIO->MODECNF0 |= RADIO_MODECNF0_RU_Fast << RADIO_MODECNF0_RU_Pos;
	// nrf_radio_modecnf0_set(NRF_RADIO, true, 0);

	err = esb_init(&config);

	if (!err)
		esb_set_base_address_0(base_addr_0);

	if (!err)
		esb_set_base_address_1(base_addr_1);

	if (!err)
		esb_set_prefixes(addr_prefix, ARRAY_SIZE(addr_prefix));

	if (err)
	{
		LOG_ERR("ESB initialization failed: %d", err);
		set_status(SYS_STATUS_CONNECTION_ERROR, true);
		return err;
	}

	esb_initialized = true;
	return 0;
}

inline void esb_set_addr_discovery(void)
{
	memcpy(base_addr_0, discovery_base_addr_0, sizeof(base_addr_0));
	memcpy(base_addr_1, discovery_base_addr_1, sizeof(base_addr_1));
	memcpy(addr_prefix, discovery_addr_prefix, sizeof(addr_prefix));
}

inline void esb_set_addr_paired(void)
{
	// Generate addresses from device address
	uint64_t *addr = (uint64_t *)NRF_FICR->DEVICEADDR; // Use device address as unique identifier (although it is not actually guaranteed, see datasheet)
	uint8_t buf[6] = {0};
	memcpy(buf, addr, 6);
	uint8_t addr_buffer[16] = {0};
	for (int i = 0; i < 4; i++)
	{
		addr_buffer[i] = buf[i];
		addr_buffer[i + 4] = buf[i] + buf[4];
	}
	for (int i = 0; i < 8; i++)
		addr_buffer[i + 8] = buf[5] + i;
	for (int i = 0; i < 16; i++)
	{
		if (addr_buffer[i] == 0x00 || addr_buffer[i] == 0x55 || addr_buffer[i] == 0xAA) // Avoid invalid addresses (see nrf datasheet)
			addr_buffer[i] += 8;
	}
	memcpy(base_addr_0, addr_buffer, sizeof(base_addr_0));
	memcpy(base_addr_1, addr_buffer + 4, sizeof(base_addr_1));
	memcpy(addr_prefix, addr_buffer + 8, sizeof(addr_prefix));
}

static bool esb_paired = false;

void esb_pair(void)
{
	LOG_INF("Pairing");
	esb_set_addr_discovery();
	esb_initialize(false);
	esb_start_rx();
	tx_payload_pair.noack = false;
	uint64_t *addr = (uint64_t *)NRF_FICR->DEVICEADDR; // Use device address as unique identifier (although it is not actually guaranteed, see datasheet)
	memcpy(&tx_payload_pair.data[2], addr, 6);
	LOG_INF("Device address: %012llX", *addr & 0xFFFFFFFFFFFF);
	set_led(SYS_LED_PATTERN_SHORT, SYS_LED_PRIORITY_CONNECTION);
	while (true) // Run indefinitely (User must reset/unplug dongle)
	{
		uint64_t found_addr = (*(uint64_t *)pairing_buf >> 16) & 0xFFFFFFFFFFFF;
		uint16_t send_tracker_id = stored_trackers; // Use new tracker id
		for (int i = 0; i < stored_trackers; i++) // Check if the device is already stored
		{
			if (found_addr != 0 && stored_tracker_addr[i] == found_addr)
			{
				//LOG_INF("Found device linked to id %d with address %012llX", i, found_addr);
				send_tracker_id = i;
			}
		}
		uint8_t checksum = crc8_ccitt(0x07, &pairing_buf[2], 6); // make sure the packet is valid
		if (checksum == 0)
			checksum = 8;
		if (checksum == pairing_buf[0] && found_addr != 0 && send_tracker_id == stored_trackers && stored_trackers < MAX_TRACKERS) // New device, add to NVS
		{
			LOG_INF("Added device on id %d with address %012llX", stored_trackers, found_addr);
			stored_tracker_addr[stored_trackers] = found_addr;
			sys_write(STORED_ADDR_0+stored_trackers, NULL, &stored_tracker_addr[stored_trackers], sizeof(stored_tracker_addr[0]));
			stored_trackers++;
			sys_write(STORED_TRACKERS, NULL, &stored_trackers, sizeof(stored_trackers));
			set_led(SYS_LED_PATTERN_ONESHOT_PROGRESS, SYS_LED_PRIORITY_HIGHEST);
		}
		if (checksum == pairing_buf[0] && send_tracker_id < MAX_TRACKERS) // Make sure the dongle is not full
			tx_payload_pair.data[0] = pairing_buf[0]; // Use checksum sent from device to make sure packet is for that device
		else
			tx_payload_pair.data[0] = 0; // Invalidate packet
		tx_payload_pair.data[1] = send_tracker_id; // Add tracker id to packet
		//esb_flush_rx();
		//esb_flush_tx();
		//esb_write_payload(&tx_payload_pair); // Add to TX buffer
		k_msleep(10);
	}
}

// TODO:
void esb_write_sync(uint16_t led_clock)
{
	if (!esb_initialized || !esb_paired)
		return;
	tx_payload_sync.noack = false;
	tx_payload_sync.data[0] = (led_clock >> 8) & 255;
	tx_payload_sync.data[1] = led_clock & 255;
	esb_write_payload(&tx_payload_sync);
}

// TODO:
void esb_receive(void)
{
	esb_set_addr_paired();
	esb_paired = true;
}

static void esb_packet_filter_thread(void)
{
	memset(discovered_trackers, 0, sizeof(discovered_trackers));
	while (true) // reset count if its not above threshold
	{
		k_msleep(1000);
		for (int i = 0; i < 256; i++)
			if (discovered_trackers[i] < DETECTION_THRESHOLD)
				discovered_trackers[i] = 0;
	}
}
```

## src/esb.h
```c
#ifndef SLIMENRF_ESB
#define SLIMENRF_ESB

#include <esb.h>

void event_handler(struct esb_evt const *event);
int clocks_start(void);
int esb_initialize(bool);

void esb_set_addr_discovery(void);
void esb_set_addr_paired(void);

void esb_pair(void);
void esb_write_sync(uint16_t led_clock);
void esb_receive(void);

#endif
```

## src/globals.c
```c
// TODO: get rid of this
#include <stdint.h>
#include "globals.h"

uint8_t stored_trackers = 0;
uint64_t stored_tracker_addr[MAX_TRACKERS] = {0};
```

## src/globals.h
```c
/*
	SlimeVR Code is placed under the MIT license
	Copyright (c) 2025 SlimeVR Contributors

	Permission is hereby granted, free of charge, to any person obtaining a copy
	of this software and associated documentation files (the "Software"), to deal
	in the Software without restriction, including without limitation the rights
	to use, copy, modify, merge, publish, distribute, sublicense, and/or sell
	copies of the Software, and to permit persons to whom the Software is
	furnished to do so, subject to the following conditions:

	The above copyright notice and this permission notice shall be included in
	all copies or substantial portions of the Software.

	THE SOFTWARE IS PROVIDED "AS IS", WITHOUT WARRANTY OF ANY KIND, EXPRESS OR
	IMPLIED, INCLUDING BUT NOT LIMITED TO THE WARRANTIES OF MERCHANTABILITY,
	FITNESS FOR A PARTICULAR PURPOSE AND NONINFRINGEMENT. IN NO EVENT SHALL THE
	AUTHORS OR COPYRIGHT HOLDERS BE LIABLE FOR ANY CLAIM, DAMAGES OR OTHER
	LIABILITY, WHETHER IN AN ACTION OF CONTRACT, TORT OR OTHERWISE, ARISING FROM,
	OUT OF OR IN CONNECTION WITH THE SOFTWARE OR THE USE OR OTHER DEALINGS IN
	THE SOFTWARE.
*/
#ifndef SLIMENRF_GLOBALS
#define SLIMENRF_GLOBALS

#include <zephyr/logging/log.h>

#include "retained.h"

#define MAX_TRACKERS 256
#define DETECTION_THRESHOLD 16

// TODO: move to esb
extern uint8_t stored_trackers;
extern uint64_t stored_tracker_addr[MAX_TRACKERS];

#endif
```

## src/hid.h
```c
/*
	SlimeVR Code is placed under the MIT license
	Copyright (c) 2025 SlimeVR Contributors

	Permission is hereby granted, free of charge, to any person obtaining a copy
	of this software and associated documentation files (the "Software"), to deal
	in the Software without restriction, including without limitation the rights
	to use, copy, modify, merge, publish, distribute, sublicense, and/or sell
	copies of the Software, and to permit persons to whom the Software is
	furnished to do so, subject to the following conditions:

	The above copyright notice and this permission notice shall be included in
	all copies or substantial portions of the Software.

	THE SOFTWARE IS PROVIDED "AS IS", WITHOUT WARRANTY OF ANY KIND, EXPRESS OR
	IMPLIED, INCLUDING BUT NOT LIMITED TO THE WARRANTIES OF MERCHANTABILITY,
	FITNESS FOR A PARTICULAR PURPOSE AND NONINFRINGEMENT. IN NO EVENT SHALL THE
	AUTHORS OR COPYRIGHT HOLDERS BE LIABLE FOR ANY CLAIM, DAMAGES OR OTHER
	LIABILITY, WHETHER IN AN ACTION OF CONTRACT, TORT OR OTHERWISE, ARISING FROM,
	OUT OF OR IN CONNECTION WITH THE SOFTWARE OR THE USE OR OTHER DEALINGS IN
	THE SOFTWARE.
*/
#ifndef SLIMENRF_HID
#define SLIMENRF_HID

#include <stdbool.h>
#include <stdint.h>

void hid_write_packet_n(uint8_t *data, uint8_t rssi);

// Tracker reports over USB HID (the "hid" console command). Off: the server sees no trackers
// from this receiver over USB; the console, the hub mirror and the logs keep working.
void hid_set_reports_enabled(bool on);
bool hid_reports_enabled(void);

#endif
```

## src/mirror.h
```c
/*
	SlimeVR Code is placed under the MIT license
	Copyright (c) 2026 SlimeVR Contributors

	Permission is hereby granted, free of charge, to any person obtaining a copy
	of this software and associated documentation files (the "Software"), to deal
	in the Software without restriction, including without limitation the rights
	to use, copy, modify, merge, publish, distribute, sublicense, and/or sell
	copies of the Software, and to permit persons to whom the Software is
	furnished to do so, subject to the following conditions:

	The above copyright notice and this permission notice shall be included in
	all copies or substantial portions of the Software.

	THE SOFTWARE IS PROVIDED "AS IS", WITHOUT WARRANTY OF ANY KIND, EXPRESS OR
	IMPLIED, INCLUDING BUT NOT LIMITED TO THE WARRANTIES OF MERCHANTABILITY,
	FITNESS FOR A PARTICULAR PURPOSE AND NONINFRINGEMENT. IN NO EVENT SHALL THE
	AUTHORS OR COPYRIGHT HOLDERS BE LIABLE FOR ANY CLAIM, DAMAGES OR OTHER
	LIABILITY, WHETHER IN AN ACTION OF CONTRACT, TORT OR OTHERWISE, ARISING FROM,
	OUT OF OR IN CONNECTION WITH THE SOFTWARE OR THE USE OR OTHER DEALINGS IN
	THE SOFTWARE.
*/
#ifndef SLIMENRF_MIRROR
#define SLIMENRF_MIRROR

#include <stdbool.h>
#include <stdint.h>

// Queues one 16-byte tracker packet (RSSI already in byte 15) for the hub UART.
// Never blocks; safe from the ESB event handler. No-op when the mirror is disabled.
// mirror_set_enabled(false) pauses the hub feed (the "mirror" console command): no tracker
// packets and no address packets until it is turned on again or the receiver reboots.
#if CONFIG_HUB_UART_MIRROR
void mirror_put(const uint8_t *packet);
void mirror_set_enabled(bool on);
bool mirror_enabled(void);
// Packets dropped because the queue was full, since boot
uint32_t mirror_dropped_count(void);
#else
static inline void mirror_put(const uint8_t *packet) { (void)packet; }
static inline void mirror_set_enabled(bool on) { (void)on; }
static inline bool mirror_enabled(void) { return false; }
static inline uint32_t mirror_dropped_count(void) { return 0; }
#endif

#endif
```
